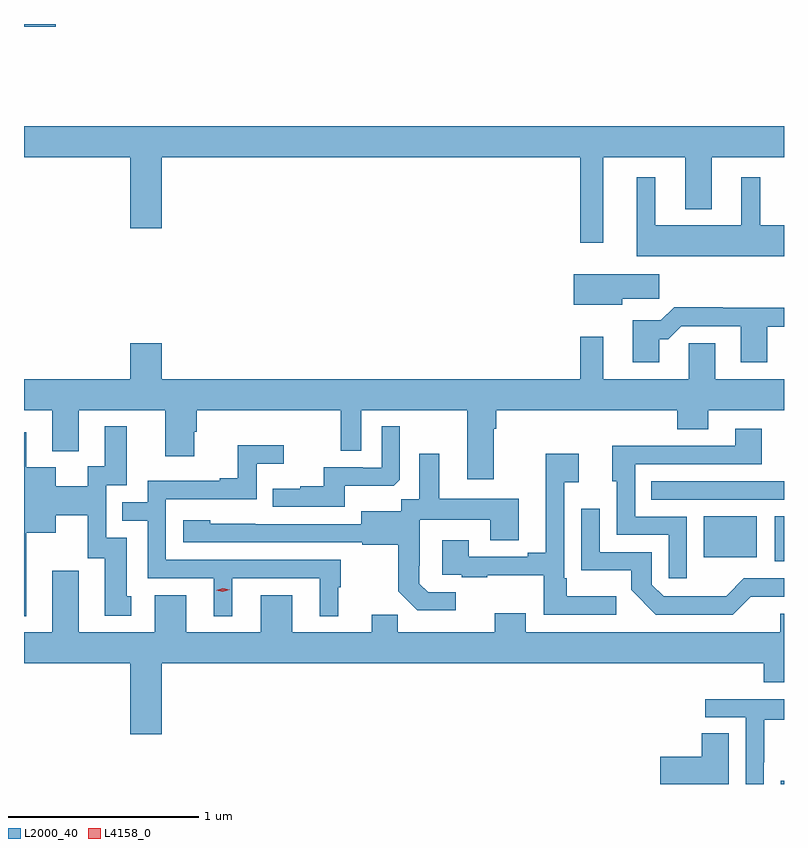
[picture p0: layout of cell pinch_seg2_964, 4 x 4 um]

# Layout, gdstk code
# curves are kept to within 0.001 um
import gdstk
lib = gdstk.Library(unit=1e-6, precision=1e-09)
def R(c, l, rs):  # rectangles x0, y0, x1, y1
    for r in rs: c.add(gdstk.rectangle(r[:2], r[2:], *l))
def P(c, l, *ps):  # polygons
    for p in ps: c.add(gdstk.Polygon(p, *l))
L2000_40 = (2000, 40)
L4158_0 = (4158, 0)

pinch_seg2_964 = lib.new_cell('pinch_seg2_964')
R(pinch_seg2_964, L2000_40, [(204.395,649.665,204.412,649.683), (204.362,650.837,204.412,651.073), (203.99,650.858,204.268,651.073), (200.412,653.651,200.578,653.665)])
P(pinch_seg2_964, L2000_40, [(203.461,652.964),(203.891,652.964),(203.891,652.691),(204.031,652.691),(204.031,652.964),(204.412,652.964),(204.412,653.128),(200.412,653.128),(200.412,652.964),(200.972,652.964),(200.972,652.59),(201.136,652.59),(201.136,652.964),(203.34,652.964),(203.34,652.515),(203.461,652.515)],
  [(204.412,652.606),(204.286,652.606),(204.286,652.858),(204.188,652.858),(204.188,652.606),(203.734,652.606),(203.734,652.858),(203.636,652.858),(203.636,652.442),(204.412,652.442)],
  [(203.56,652.219),(203.755,652.219),(203.755,652.348),(203.306,652.348),(203.306,652.187),(203.56,652.187)],
  [(203.755,652.007),(203.804,652.007),(203.871,652.074),(204.185,652.074),(204.185,651.885),(204.325,651.885),(204.325,652.071),(204.412,652.071),(204.412,652.172),(204.089,652.172),(204.089,652.175),(203.834,652.175),(203.764,652.105),(203.615,652.105),(203.615,651.885),(203.755,651.885)],
  [(202.885,651.536),(202.898,651.536),(202.898,651.632),(203.849,651.632),(203.849,651.533),(204.013,651.533),(204.013,651.632),(204.412,651.632),(204.412,651.796),(204.049,651.796),(204.049,651.986),(203.91,651.986),(203.91,651.796),(203.461,651.796),(203.461,652.018),(203.34,652.018),(203.34,651.796),(201.136,651.796),(201.136,651.985),(200.972,651.985),(200.972,651.796),(200.412,651.796),(200.412,651.632),(200.561,651.632),(200.561,651.416),(200.701,651.416),(200.701,651.632),(201.155,651.632),(201.155,651.39),(201.307,651.39),(201.307,651.519),(201.32,651.519),(201.32,651.632),(202.08,651.632),(202.08,651.418),(202.188,651.418),(202.188,651.632),(202.745,651.632),(202.745,651.27),(202.885,651.27)],
  [(202.099,651.236),(202.357,651.236),(202.389,651.267),(202.389,651.547),(202.296,651.547),(202.296,651.33),(202.196,651.33),(202.196,651.333),(201.989,651.333),(201.989,651.232),(201.865,651.232),(201.865,651.22),(201.721,651.22),(201.721,651.123),(202.099,651.123)],
  [(200.425,650.987),(200.578,650.987),(200.578,651.08),(200.748,651.08),(200.748,650.853),(200.837,650.853),(200.837,650.55),(200.977,650.55),(200.977,650.652),(200.953,650.652),(200.953,650.961),(200.844,650.961),(200.844,651.237),(200.953,651.237),(200.953,651.547),(200.837,651.547),(200.837,651.338),(200.747,651.338),(200.747,651.232),(200.578,651.232),(200.578,651.331),(200.425,651.331),(200.425,651.517),(200.412,651.517),(200.412,650.549),(200.425,650.549)],
  [(203.901,651.072),(203.628,651.072),(203.628,651.348),(204.295,651.348),(204.295,651.535),(204.155,651.535),(204.155,651.444),(203.725,651.444),(203.725,651.446),(203.507,651.446),(203.507,651.258),(203.532,651.258),(203.532,650.976),(203.805,650.976),(203.805,650.748),(203.901,650.748)],
  [(201.508,650.748),(201.968,650.748),(201.968,650.549),(202.066,650.549),(202.066,650.7),(202.078,650.7),(202.078,650.844),(201.159,650.844),(201.159,651.165),(201.636,651.165),(201.636,651.35),(201.778,651.35),(201.778,651.449),(201.538,651.449),(201.538,651.274),(201.443,651.274),(201.443,651.261),(201.063,651.261),(201.063,651.147),(200.929,651.147),(200.929,651.051),(201.063,651.051),(201.063,650.748),(201.41,650.748),(201.41,650.549),(201.508,650.549)],
  [(203.53,650.653),(203.269,650.653),(203.269,650.749),(203.256,650.749),(203.256,651.254),(203.332,651.254),(203.332,651.403),(203.159,651.403),(203.159,650.881),(203.063,650.881),(203.063,650.862),(202.753,650.862),(202.753,650.947),(202.613,650.947),(202.613,650.766),(202.717,650.766),(202.717,650.754),(202.849,650.754),(202.849,650.765),(203.148,650.765),(203.148,650.556),(203.53,650.556)],
  [(202.684,650.673),(202.539,650.673),(202.492,650.72),(202.492,650.815),(202.494,650.815),(202.494,651.056),(202.865,651.056),(202.865,650.947),(203.017,650.947),(203.017,651.166),(202.597,651.166),(202.597,651.403),(202.493,651.403),(202.493,651.164),(202.398,651.164),(202.398,651.1),(202.187,651.1),(202.187,651.033),(201.393,651.034),(201.393,651.052),(201.249,651.052),(201.249,650.937),(202.191,650.937),(202.191,650.925),(202.383,650.925),(202.383,650.679),(202.483,650.579),(202.684,650.579)],
  [(204.412,651.259),(204.391,651.259),(204.391,651.258),(203.713,651.258),(203.713,651.162),(204.412,651.162)],
  [(204.236,650.651),(204.412,650.651),(204.412,650.748),(204.201,650.748),(204.107,650.654),(204.002,650.654),(204.002,650.652),(203.778,650.652),(203.715,650.715),(203.715,650.886),(203.442,650.886),(203.442,651.115),(203.346,651.115),(203.346,650.789),(203.608,650.789),(203.608,650.687),(203.738,650.556),(204.141,650.556)],
  [(201.136,650.3),(204.305,650.3),(204.305,650.201),(204.412,650.201),(204.412,650.562),(204.392,650.562),(204.392,650.464),(203.053,650.464),(203.053,650.563),(202.889,650.563),(202.889,650.464),(202.379,650.464),(202.379,650.555),(202.241,650.555),(202.241,650.464),(201.823,650.464),(201.823,650.659),(201.659,650.659),(201.659,650.464),(201.265,650.464),(201.265,650.659),(201.101,650.659),(201.101,650.464),(200.701,650.464),(200.701,650.788),(200.561,650.788),(200.561,650.464),(200.412,650.464),(200.412,650.3),(200.972,650.3),(200.972,649.926),(201.136,649.926)],
  [(204.306,649.78),(204.309,649.78),(204.309,650.004),(204.412,650.004),(204.412,650.112),(203.997,650.112),(203.997,650.016),(204.21,650.016),(204.21,649.665),(204.306,649.665)],
  [(204.121,649.931),(203.978,649.931),(203.978,649.808),(203.76,649.808),(203.76,649.665),(204.121,649.665)])
P(pinch_seg2_964, L4158_0, [(201.459,650.676),(201.424,650.684),(201.423,650.685),(201.424,650.685),(201.459,650.696),(201.494,650.687),(201.495,650.687),(201.494,650.687)])

lib.write_gds('pinch_seg2_964.gds')
